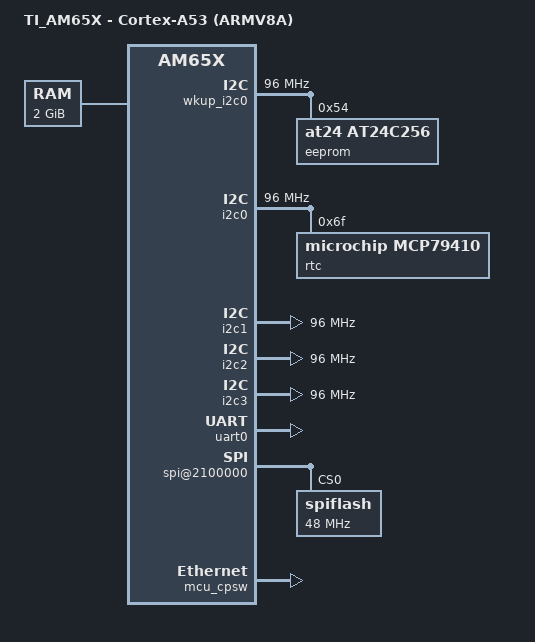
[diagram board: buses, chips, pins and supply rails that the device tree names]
/* am65x.dts - TI K3 AM65x board device tree source */

/*
modification history
--------------------
19feb19,whe  created (VXWPG-114)
*/

#include "prjParams.h"

/dts-v1/;

/   {
    model = "TI_AM65X - Cortex-A53 (ARMV8A)";
    compatible = "ti,am65x";
    #address-cells = <2>;
    #size-cells = <2>;
    interrupt-parent = <&intc>;

    cpus
        {
        #address-cells = <2>;
        #size-cells = <0>;

        cpu@0
            {
            device_type = "cpu";
            reg = <0 0>;
            };

        cpu@1
            {
            device_type = "cpu";
            reg = <0 1>;
            };

        cpu@2
            {
            device_type = "cpu";
            reg = <0 0x100>;
            };

        cpu@3
            {
            device_type = "cpu";
            reg = <0 0x101>;
            };
        };

    memory
        {
        device_type = "memory";
        reg = <0x0 0x80000000 0x0 0x80000000>;
        };

    aliases
        {
        serial0 = &uart0;
        ethernet0 = &cpsw_port1;
        };

    chosen
        {
        bootargs = "cpsw(0,0)host:vxWorks h=192.168.1.1 e=192.168.1.100 u=target pw=vxTarget f=0x0";
        stdout-path = "serial0";
        };

    soc
        {
        compatible = "simple-bus";
        device_type = "soc";
        #address-cells = <2>;
        #size-cells = <2>;
        reset_control = <0x4301817C>; /* CTRLMMR_WKUP_MCU_WARM_RST_CTRL register */

        intc: interrupt-controller@1800000
            {
            compatible = "arm,gic-v3";
            interrupt-controller;
            #interrupt-cells = <4>;
            reg = <0x00 0x01800000 0x00 0x10000>,   /* GICD */
                  <0x00 0x01880000 0x00 0x90000>;   /* GICR */

            max-int-lvl = <991>;
            };

        timer0: timer
            {
            compatible = "arm,arm-gen-timer";
            interrupts = <29 1 4 0        /* Physical Secure */
                          30 1 4 0        /* Physical Non-Secure */
                          27 1 4 0        /* Virtual */
                          26 1 4 0>;      /* Hypervisor */

            interrupt-parent = <&intc>;
            };

        dmtimer0: timer@2400000
            {
            compatible = "ti,dmtimer";
            reg = <0x00 0x2400000 0x00 0x80>;
            interrupts = <256 0 4 0>;
            interrupt-parent = <&intc>;          
            clock-frequency = <25000000>;
            };
            
        dmtimer1: timer@2410000
            {
            compatible = "ti,dmtimer";
            reg = <0x00 0x2410000 0x00 0x80>;
            interrupts = <257 0 4 0>;
            interrupt-parent = <&intc>;          
            clock-frequency = <25000000>;
            };
            
        wkup_i2c0: i2c@42120000
            {
            compatible = "ti,am38xx-i2c";
            reg = <0x0 0x42120000 0x0 0x100>;
            interrupts = <728 0 4 0>;
            interrupt-parent = <&intc>;
            clock-frequency = <96000000>;
            #address-cells = <1>;
            #size-cells = <0>;
            eeprom@54
                {
                compatible = "at24, at24c256";
                data-scl-frequency = <400000>;
                reg = <0x54>;
                };          
            };
            
        i2c0: i2c@2000000
            {
            compatible = "ti,am38xx-i2c";
            reg = <0x0 0x2000000 0x0 0x100>,
                  <0x0 0x0011C000 0x0 0x20000>;
            interrupts = <232 0 4 0>;
            interrupt-parent = <&intc>;
            clock-frequency = <96000000>;
            #address-cells = <1>;
            #size-cells = <0>;
            rtc@6f
                {
                compatible  = "microchip,mcp79410";
                reg = <0x6f>;
                };
            };

        i2c1: i2c@2010000
            {
            compatible = "ti,am38xx-i2c";
            reg = <0x0 0x2010000 0x0 0x100>;
            interrupts = <233 0 4 0>;
            interrupt-parent = <&intc>;
            clock-frequency = <96000000>;
            #address-cells = <1>;
            #size-cells = <0>;
            };

        i2c2: i2c@2020000
            {
            compatible = "ti,am38xx-i2c";
            reg = <0x0 0x2020000 0x0 0x100>;
            interrupts = <234 0 4 0>;
            interrupt-parent = <&intc>;
            clock-frequency = <96000000>;
            #address-cells = <1>;
            #size-cells = <0>;
            };

        i2c3: i2c@2030000
            {
            compatible = "ti,am38xx-i2c";
            reg = <0x0 0x2030000 0x0 0x100>;
            interrupts = <235 0 4 0>;
            interrupt-parent = <&intc>;
            clock-frequency = <96000000>;
            #address-cells = <1>;
            #size-cells = <0>;
            };

        uart0: serial@2800000
            {
            compatible  = "ti,am5-uart";
            reg         = <0x0 0x2800000 0x0 0x1000>;
            interrupts  = <224 0 1 0>;
            interrupt-parent = <&intc>;
            clock-frequency = <48000000>;
            };

        spi@2100000
            {
            #address-cells = <1>;
            #size-cells = <0>;
            compatible = "ti,am335x-spi";
            reg = <0x0 0x02100000 0x0 0x400>,
                  <0x0 0x0011C000 0x0 0x20000>;
            interrupts = <216 0 4 0>;
            interrupt-parent = <&intc>;
            spiflash@0 /* mt25q128 */
                {
                #address-cells = <1>;
                #size-cells = <1>;
                compatible = "spiflash";
                spi-max-frequency = <48000000>;
                reg = <0>;
                };
            };

        mcu_cpsw: ethernet@46000000
            {
            compatible  = "ti,am65x-cpsw-nuss";
            reg = <0x0 0x46000000 0x0 0x200000>;

            cpsw_port1: port@1                    /* port device*/
                {
                device_type    = "network";
                compatible     = "ti,k3-cpsw-port";
                #address-cells = <1>;
                #size-cells    = <0>;
                cpsw-port-index  = <1>;
                cpsw-gmac-offset = <0x22330>;
                cpsw-port-offset = <0x208>;
                local-mac-address = [ 00 18 31 e0 a8 32 ];
                phy-handle = <&phy0>;
                phy0: ethernet-phy@0
                    {
                    compatible = "tiDpPhy";
                    reg = <0>;
                    rgmii-delay = <0x3>;
                    rx-internal-delay = <0x8>;
                    tx-internal-delay = <0xa>;
                    fifo-depth = <0x1>;
                    };
                };
            };
        };
    };/* end of root */
